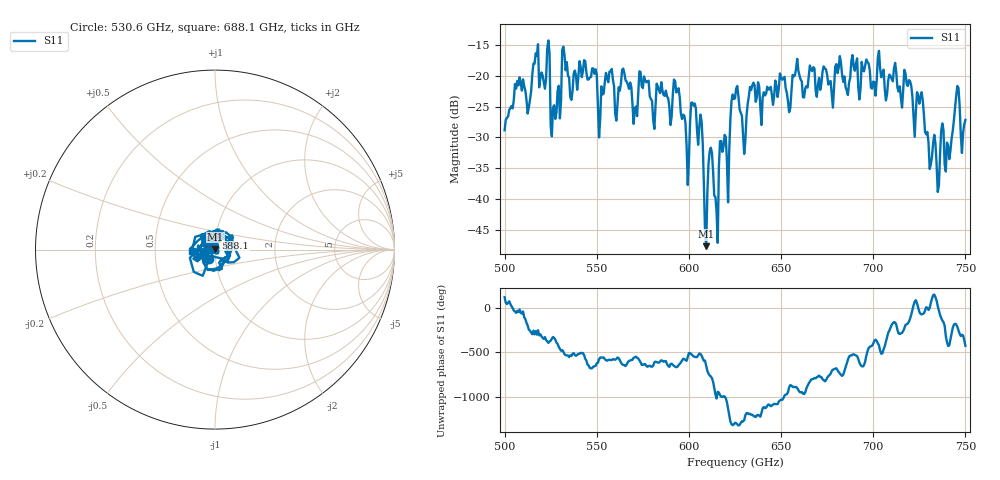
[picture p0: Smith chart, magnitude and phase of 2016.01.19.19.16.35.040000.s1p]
!Created with skrf (http://scikit-rf.org).
# GHz S RI R 50.0
!freq ReS11 ImS11
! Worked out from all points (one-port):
!   401 points, 500 GHz to 750 GHz, reference 50 ohm
!   lowest |S11| = -47.6 dB at 609.4 GHz (marker M1), VSWR 1.01, Z = 50.2 + j0.39 ohm
!   |S11| at or under -10 dB: start of sweep to end of sweep
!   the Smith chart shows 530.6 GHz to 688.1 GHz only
!   S11 on the Smith chart (normalised r, x): 530.6 GHz: 0.93, -0.10; 588.1 GHz: 1.00, +0.14; 688.1 GHz: 0.77, -0.01
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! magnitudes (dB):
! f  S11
! 500 GHz  -28.8
! 506.9 GHz  -20.9
! 513.1 GHz  -25.2
! 516.9 GHz  -16.4
! 523.1 GHz  -15.6
! 526.2 GHz  -25.2
! 530.6 GHz  -24.0
! 531.2 GHz  -15.8
! 551.9 GHz  -26.9
! 562.5 GHz  -22.4
! 588.1 GHz  -23.4
! 593.8 GHz  -22.6
! 598.8 GHz  -31.4
! 602.5 GHz  -24.8
! 606.2 GHz  -26.3
! 609.4 GHz  -47.6
! 611.9 GHz  -31.7
! 615 GHz  -42.0
! 625 GHz  -23.7
! 630 GHz  -32.7
! 634.4 GHz  -21.6
! 656.2 GHz  -19.9
! 687.5 GHz  -20.4
! 688.1 GHz  -17.7
! 718.8 GHz  -21.7
! 735 GHz  -38.8
! 745.6 GHz  -21.7
! 750 GHz  -27.2
